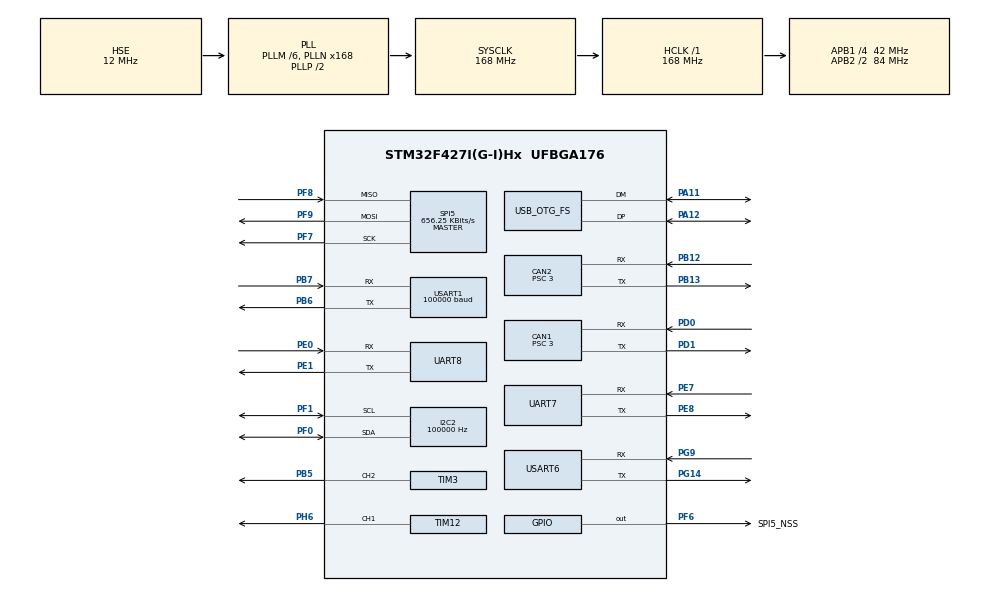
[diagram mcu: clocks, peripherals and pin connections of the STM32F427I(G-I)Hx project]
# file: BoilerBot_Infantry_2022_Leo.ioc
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CAN1.ABOM=ENABLE
CAN1.AWUM=ENABLE
CAN1.BS1=CAN_BS1_10TQ
CAN1.BS2=CAN_BS2_3TQ
CAN1.CalculateBaudRate=1000000
CAN1.CalculateTimeBit=1000
CAN1.CalculateTimeQuantum=71.42857142857143
CAN1.NART=ENABLE
CAN1.Prescaler=3
CAN2.ABOM=ENABLE
CAN2.AWUM=ENABLE
CAN2.BS1=CAN_BS1_10TQ
CAN2.BS2=CAN_BS2_3TQ
CAN2.CalculateBaudRate=1000000
CAN2.CalculateTimeBit=1000
CAN2.CalculateTimeQuantum=71.42857142857143
CAN2.NART=ENABLE
CAN2.Prescaler=3
CAN2.RFLM=ENABLE
Dma.Request0=USART1_RX
Dma.Request1=USART6_RX
Dma.Request2=UART7_RX
Dma.Request3=UART7_TX
Dma.UART7_RX.2.Direction=DMA_PERIPH_TO_MEMORY
Dma.UART7_RX.2.FIFOMode=DMA_FIFOMODE_DISABLE
Dma.UART7_RX.2.Instance=DMA1_Stream3
Dma.UART7_RX.2.MemDataAlignment=DMA_MDATAALIGN_BYTE
Dma.UART7_RX.2.MemInc=DMA_MINC_ENABLE
Dma.UART7_RX.2.Mode=DMA_CIRCULAR
Dma.UART7_RX.2.PeriphDataAlignment=DMA_PDATAALIGN_BYTE
Dma.UART7_RX.2.PeriphInc=DMA_PINC_DISABLE
Dma.UART7_RX.2.Priority=DMA_PRIORITY_HIGH
Dma.UART7_TX.3.Direction=DMA_MEMORY_TO_PERIPH
Dma.UART7_TX.3.FIFOMode=DMA_FIFOMODE_DISABLE
Dma.UART7_TX.3.Instance=DMA1_Stream1
Dma.UART7_TX.3.MemDataAlignment=DMA_MDATAALIGN_BYTE
Dma.UART7_TX.3.MemInc=DMA_MINC_ENABLE
Dma.UART7_TX.3.Mode=DMA_CIRCULAR
Dma.UART7_TX.3.PeriphDataAlignment=DMA_PDATAALIGN_BYTE
Dma.UART7_TX.3.PeriphInc=DMA_PINC_DISABLE
Dma.UART7_TX.3.Priority=DMA_PRIORITY_HIGH
Dma.USART1_RX.0.Direction=DMA_PERIPH_TO_MEMORY
Dma.USART1_RX.0.FIFOMode=DMA_FIFOMODE_DISABLE
Dma.USART1_RX.0.Instance=DMA2_Stream2
Dma.USART1_RX.0.MemDataAlignment=DMA_MDATAALIGN_BYTE
Dma.USART1_RX.0.MemInc=DMA_MINC_ENABLE
Dma.USART1_RX.0.Mode=DMA_CIRCULAR
Dma.USART1_RX.0.PeriphDataAlignment=DMA_PDATAALIGN_BYTE
Dma.USART1_RX.0.PeriphInc=DMA_PINC_DISABLE
Dma.USART1_RX.0.Priority=DMA_PRIORITY_LOW
Dma.USART6_RX.1.Direction=DMA_PERIPH_TO_MEMORY
Dma.USART6_RX.1.FIFOMode=DMA_FIFOMODE_DISABLE
Dma.USART6_RX.1.Instance=DMA2_Stream1
Dma.USART6_RX.1.MemDataAlignment=DMA_MDATAALIGN_BYTE
Dma.USART6_RX.1.MemInc=DMA_MINC_ENABLE
Dma.USART6_RX.1.Mode=DMA_CIRCULAR
Dma.USART6_RX.1.PeriphDataAlignment=DMA_PDATAALIGN_BYTE
Dma.USART6_RX.1.PeriphInc=DMA_PINC_DISABLE
Dma.USART6_RX.1.Priority=DMA_PRIORITY_LOW
FREERTOS.INCLUDE_vTaskDelayUntil=1
FREERTOS.Queues01=CAN1_Receive,32,CAN_Export_Data_t,0,Dynamic,NULL,NULL;CAN2_Receive,32,CAN_Export_Data_t,0,Dynamic,NULL,NULL;CAN_Send,32,CAN_Send_Data_t,0,Dynamic,NULL,NULL
FREERTOS.Tasks01=Task_IMU,0,384,StartIMUTask,Default,NULL,Dynamic,NULL,NULL;Task_Init,2,128,General_Init,Default,NULL,Dynamic,NULL,NULL;Task_CAN_Send,2,256,CAN_Send_ALL,Default,NULL,Dynamic,NULL,NULL;Task_CAN1_Rec,2,256,CAN1_Rec,Default,NULL,Dynamic,NULL,NULL;Task_CAN2_Rec,2,256,CAN2_Rec,Default,NULL,Dynamic,NULL,NULL;Task_Robot_Ctrl,3,640,Robot_Control,Default,NULL,Dynamic,NULL,NULL;SendtoPC,3,256,StartTransmission,Default,NULL,Dynamic,NULL,NULL
FREERTOS.configUSE_TIMERS=0
I2C2.Analog_Filter=I2C_ANALOGFILTER_DISABLE
I2C2.ClockSpeed=100000
I2C2.I2C_Mode=I2C_Standard
I2C2.OwnAddress=0
Mcu.Family=STM32F4
Mcu.Name=STM32F427I(G-I)Hx
Mcu.Package=UFBGA176
NVIC.CAN1_RX0_IRQn=true\:6\:0\:true\:false\:true\:false\:true\:false\:true
NVIC.CAN2_RX0_IRQn=true\:6\:0\:true\:false\:true\:false\:true\:false\:true
NVIC.DMA1_Stream1_IRQn=true\:5\:0\:false\:false\:true\:true\:false\:true\:true
NVIC.DMA1_Stream3_IRQn=true\:5\:0\:false\:false\:true\:true\:false\:true\:true
NVIC.DMA2_Stream1_IRQn=true\:5\:0\:false\:false\:true\:false\:false\:false\:true
NVIC.DMA2_Stream2_IRQn=true\:0\:0\:true\:false\:true\:false\:false\:false\:true
NVIC.OTG_FS_IRQn=true\:5\:0\:false\:false\:true\:true\:false\:true\:true
NVIC.PriorityGroup=NVIC_PRIORITYGROUP_4
NVIC.TIM6_DAC_IRQn=true\:0\:0\:true\:false\:true\:false\:false\:true\:true
NVIC.TimeBase=TIM6_DAC_IRQn
NVIC.TimeBaseIP=TIM6
NVIC.USART1_IRQn=true\:5\:0\:true\:false\:true\:false\:true\:false\:true
NVIC.USART6_IRQn=true\:5\:0\:true\:false\:true\:false\:true\:false\:true
PA11.Mode=Device_Only
PA11.Signal=USB_OTG_FS_DM
PA12.Mode=Device_Only
PA12.Signal=USB_OTG_FS_DP
PA13.Mode=Serial_Wire
PA13.Signal=SYS_JTMS-SWDIO
PA14.Mode=Serial_Wire
PA14.Signal=SYS_JTCK-SWCLK
PB12.Mode=CAN_Activate
PB12.Signal=CAN2_RX
PB13.Mode=CAN_Activate
PB13.Signal=CAN2_TX
PB5.Signal=S_TIM3_CH2
PB6.GPIO_PuPd=GPIO_PULLUP
PB6.Mode=Asynchronous
PB6.Signal=USART1_TX
PB7.GPIO_PuPd=GPIO_PULLUP
PB7.Mode=Asynchronous
PB7.Signal=USART1_RX
PD0.Mode=CAN_Activate
PD0.Signal=CAN1_RX
PD1.Mode=CAN_Activate
PD1.Signal=CAN1_TX
PE0.Mode=Asynchronous
PE0.Signal=UART8_RX
PE1.Mode=Asynchronous
PE1.Signal=UART8_TX
PE7.Mode=Asynchronous
PE7.Signal=UART7_RX
PE8.Mode=Asynchronous
PE8.Signal=UART7_TX
PF0.GPIO_Pu=GPIO_PULLUP
PF0.Mode=I2C
PF0.Signal=I2C2_SDA
PF1.GPIO_Pu=GPIO_PULLUP
PF1.Mode=I2C
PF1.Signal=I2C2_SCL
PF6.GPIO_Label=SPI5_NSS
PF6.GPIO_PuPd=GPIO_PULLUP
PF6.PinState=GPIO_PIN_SET
PF6.Signal=GPIO_Output
PF7.Mode=Full_Duplex_Master
PF7.Signal=SPI5_SCK
PF8.Mode=Full_Duplex_Master
PF8.Signal=SPI5_MISO
PF9.Mode=Full_Duplex_Master
PF9.Signal=SPI5_MOSI
PG14.Mode=Asynchronous
PG14.Signal=USART6_TX
PG9.Mode=Asynchronous
PG9.Signal=USART6_RX
PH0/OSC_IN.Mode=HSE-External-Oscillator
PH0/OSC_IN.Signal=RCC_OSC_IN
PH1/OSC_OUT.Mode=HSE-External-Oscillator
PH1/OSC_OUT.Signal=RCC_OSC_OUT
PH6.Signal=S_TIM12_CH1
ProjectManager.HeapSize=0x200
ProjectManager.StackSize=0x400
ProjectManager.TargetToolchain=MDK-ARM V5.32
RCC.48MHZClocksFreq_Value=48000000
RCC.AHBFreq_Value=168000000
RCC.APB1CLKDivider=RCC_HCLK_DIV4
RCC.APB1Freq_Value=42000000
RCC.APB1TimFreq_Value=84000000
RCC.APB2CLKDivider=RCC_HCLK_DIV2
RCC.APB2Freq_Value=84000000
RCC.APB2TimFreq_Value=168000000
RCC.CortexFreq_Value=168000000
RCC.HCLKFreq_Value=168000000
RCC.HSE_VALUE=12000000
RCC.HSI_VALUE=16000000
RCC.LSE_VALUE=32768
RCC.PLLM=6
RCC.PLLN=168
RCC.PLLQ=7
RCC.SYSCLKFreq_VALUE=168000000
RCC.SYSCLKSource=RCC_SYSCLKSOURCE_PLLCLK
RCC.VCOOutputFreq_Value=336000000
SH.S_TIM12_CH1.0=TIM12_CH1,PWM Generation1 CH1
SH.S_TIM3_CH2.0=TIM3_CH2,PWM Generation2 CH2
SPI5.BaudRatePrescaler=SPI_BAUDRATEPRESCALER_128
SPI5.CalculateBaudRate=656.25 KBits/s
SPI5.Direction=SPI_DIRECTION_2LINES
SPI5.Mode=SPI_MODE_MASTER
SPI5.VirtualType=VM_MASTER
TIM12.Channel-PWM\ Generation1\ CH1=TIM_CHANNEL_1
TIM12.Period=0
TIM12.Prescaler=42
TIM3.Channel-PWM\ Generation2\ CH2=TIM_CHANNEL_2
TIM3.Period=4999
TIM7.Period=50
TIM7.Prescaler=84
UART7.VirtualMode=Asynchronous
UART8.VirtualMode=Asynchronous
USART1.BaudRate=100000
USART1.VirtualMode=VM_ASYNC
USART6.VirtualMode=VM_ASYNC
USB_DEVICE.CLASS_NAME_FS=CDC
USB_DEVICE.PRODUCT_STRING_CDC_FS=Sys ID Util
USB_DEVICE.USBD_DEBUG_LEVEL-CDC_FS=0
USB_DEVICE.VirtualMode-CDC_FS=Cdc
USB_DEVICE.VirtualModeFS=Cdc_FS
USB_OTG_FS.VirtualMode=Device_Only
USB_OTG_FS.low_power_enable=DISABLE
VP_FREERTOS_VS_CMSIS_V1.Mode=CMSIS_V1
VP_SYS_VS_tim6.Mode=TIM6
VP_TIM12_VS_ClockSourceINT.Mode=Internal
VP_TIM3_VS_ClockSourceINT.Mode=Internal
VP_TIM7_VS_ClockSourceINT.Mode=Enable_Timer
VP_USB_DEVICE_VS_USB_DEVICE_CDC_FS.Mode=CDC_FS
board=custom

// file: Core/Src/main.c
/* USER CODE BEGIN Header */
/**
  ******************************************************************************
  * @file           : main.c
  * @brief          : Main program body
  ******************************************************************************
  * @attention
  *
  * Copyright (c) 2022 STMicroelectronics.
  * All rights reserved.
  *
  * This software is licensed under terms that can be found in the LICENSE file
  * in the root directory of this software component.
  * If no LICENSE file comes with this software, it is provided AS-IS.
  *
  ******************************************************************************
  */
/* USER CODE END Header */
#include "main.h"
#include "cmsis_os.h"
#include "can.h"
#include "dma.h"
#include "i2c.h"
#include "spi.h"
#include "tim.h"
#include "usart.h"
#include "usb_device.h"
#include "gpio.h"

void SystemClock_Config(void);
void MX_FREERTOS_Init(void);

int main(void)
{

  /* MCU Configuration--------------------------------------------------------*/

  /* Reset of all peripherals, Initializes the Flash interface and the Systick. */
  HAL_Init();

  /* Configure the system clock */
  SystemClock_Config();

  /* Initialize all configured peripherals */
  MX_GPIO_Init();
  MX_DMA_Init();
  MX_TIM12_Init();
  MX_USART1_UART_Init();
  MX_SPI5_Init();
  MX_TIM3_Init();
  MX_CAN1_Init();
  MX_CAN2_Init();
  MX_I2C2_Init();
  MX_USART6_UART_Init();
  MX_UART7_Init();
  MX_TIM7_Init();
  MX_UART8_Init();

  /* Call init function for freertos objects (in freertos.c) */
  MX_FREERTOS_Init();

  /* Start scheduler */
  osKernelStart();

  /* We should never get here as control is now taken by the scheduler */
  /* Infinite loop */
  while (1)
  {

  }
}

void SystemClock_Config(void)
{
  RCC_OscInitTypeDef RCC_OscInitStruct = {0};
  RCC_ClkInitTypeDef RCC_ClkInitStruct = {0};

  /** Configure the main internal regulator output voltage
  */
  __HAL_RCC_PWR_CLK_ENABLE();
  __HAL_PWR_VOLTAGESCALING_CONFIG(PWR_REGULATOR_VOLTAGE_SCALE1);

  /** Initializes the RCC Oscillators according to the specified parameters
  * in the RCC_OscInitTypeDef structure.
  */
  RCC_OscInitStruct.OscillatorType = RCC_OSCILLATORTYPE_HSE;
  RCC_OscInitStruct.HSEState = RCC_HSE_ON;
  RCC_OscInitStruct.PLL.PLLState = RCC_PLL_ON;
  RCC_OscInitStruct.PLL.PLLSource = RCC_PLLSOURCE_HSE;
  RCC_OscInitStruct.PLL.PLLM = 6;
  RCC_OscInitStruct.PLL.PLLN = 168;
  RCC_OscInitStruct.PLL.PLLP = RCC_PLLP_DIV2;
  RCC_OscInitStruct.PLL.PLLQ = 7;
  if (HAL_RCC_OscConfig(&RCC_OscInitStruct) != HAL_OK)
  {
    Error_Handler();
  }

  /** Initializes the CPU, AHB and APB buses clocks
  */
  RCC_ClkInitStruct.ClockType = RCC_CLOCKTYPE_HCLK|RCC_CLOCKTYPE_SYSCLK
                              |RCC_CLOCKTYPE_PCLK1|RCC_CLOCKTYPE_PCLK2;
  RCC_ClkInitStruct.SYSCLKSource = RCC_SYSCLKSOURCE_PLLCLK;
  RCC_ClkInitStruct.AHBCLKDivider = RCC_SYSCLK_DIV1;
  RCC_ClkInitStruct.APB1CLKDivider = RCC_HCLK_DIV4;
  RCC_ClkInitStruct.APB2CLKDivider = RCC_HCLK_DIV2;

  if (HAL_RCC_ClockConfig(&RCC_ClkInitStruct, FLASH_LATENCY_5) != HAL_OK)
  {
    Error_Handler();
  }
}

void HAL_TIM_PeriodElapsedCallback(TIM_HandleTypeDef *htim)
{
  if (htim->Instance == TIM6) {
    HAL_IncTick();
  }
  /* USER CODE BEGIN Callback 1 */
	if(htim->Instance == TIM7)
	{
		HAL_IncTick();
		FreeRTOSRunTimeTicks++;
	}
  /* USER CODE END Callback 1 */
}

void Error_Handler(void)
{
  __disable_irq();
  while (1)
  {
  }
}

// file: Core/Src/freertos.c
/* USER CODE BEGIN Header */
/**
  ******************************************************************************
  * File Name          : freertos.c
  * Description        : Code for freertos applications
  ******************************************************************************
  * @attention
  *
  * Copyright (c) 2022 STMicroelectronics.
  * All rights reserved.
  *
  * This software is licensed under terms that can be found in the LICENSE file
  * in the root directory of this software component.
  * If no LICENSE file comes with this software, it is provided AS-IS.
  *
  ******************************************************************************
  */
/* USER CODE END Header */

#include "FreeRTOS.h"
#include "task.h"
#include "main.h"
#include "cmsis_os.h"

/* USER CODE BEGIN Includes */
#include <stdio.h>
#include "Board_A_IMU.h"
#include "IMU_Temp_Control.h"
#include "DR16_Remote.h"
#include "M3508_Motor.h"
#include "GM6020_Motor.h"
#include "M2006_Motor.h"
#include "Super_Capacitor.h"
#include "Robot_Control.h"
#include "MPU6050_IMU.h"
#include "WT901_IMU.h"
#include "Fusion.h"
#include "Referee_System.h"
#include "Buzzer.h"
#include "Jetson_Tx2.h"
#include "usbd_cdc_if.h"
/* USER CODE END Includes */

/* USER CODE BEGIN Variables */
osThreadId CPU_RunTimeHandle;
/* USER CODE END Variables */
osThreadId Task_IMUHandle;
osThreadId Task_InitHandle;
osThreadId Task_CAN_SendHandle;
osThreadId Task_CAN1_RecHandle;
osThreadId Task_CAN2_RecHandle;
osThreadId Task_Robot_CtrlHandle;
osThreadId SendtoPCHandle;
osMessageQId CAN1_ReceiveHandle;
osMessageQId CAN2_ReceiveHandle;
osMessageQId CAN_SendHandle;

/* USER CODE BEGIN FunctionPrototypes */
void StartIMUTask(void const * argument);
void General_Initialization(void const * argument);
void CPU_RunTime(void const * argument);
/* USER CODE END FunctionPrototypes */

void StartIMUTask(void const * argument);
void General_Init(void const * argument);
void CAN_Send_ALL(void const * argument);
void CAN1_Rec(void const * argument);
void CAN2_Rec(void const * argument);
void Robot_Control(void const * argument);
void StartTransmission(void const * argument);

extern void MX_USB_DEVICE_Init(void);
void MX_FREERTOS_Init(void); /* (MISRA C 2004 rule 8.1) */

/* GetIdleTaskMemory prototype (linked to static allocation support) */
void vApplicationGetIdleTaskMemory( StaticTask_t **ppxIdleTaskTCBBuffer, StackType_t **ppxIdleTaskStackBuffer, uint32_t *pulIdleTaskStackSize );

/* USER CODE BEGIN GET_IDLE_TASK_MEMORY */
static StaticTask_t xIdleTaskTCBBuffer;
static StackType_t xIdleStack[configMINIMAL_STACK_SIZE];

void vApplicationGetIdleTaskMemory( StaticTask_t **ppxIdleTaskTCBBuffer, StackType_t **ppxIdleTaskStackBuffer, uint32_t *pulIdleTaskStackSize )
{
  *ppxIdleTaskTCBBuffer = &xIdleTaskTCBBuffer;
  *ppxIdleTaskStackBuffer = &xIdleStack[0];
  *pulIdleTaskStackSize = configMINIMAL_STACK_SIZE;
  /* place for user code */
}
/* USER CODE END GET_IDLE_TASK_MEMORY */

void MX_FREERTOS_Init(void) {

  /* Create the queue(s) */
  /* definition and creation of CAN1_Receive */
  osMessageQDef(CAN1_Receive, 32, CAN_Export_Data_t);
  CAN1_ReceiveHandle = osMessageCreate(osMessageQ(CAN1_Receive), NULL);

  /* definition and creation of CAN2_Receive */
  osMessageQDef(CAN2_Receive, 32, CAN_Export_Data_t);
  CAN2_ReceiveHandle = osMessageCreate(osMessageQ(CAN2_Receive), NULL);

  /* definition and creation of CAN_Send */
  osMessageQDef(CAN_Send, 32, CAN_Send_Data_t);
  CAN_SendHandle = osMessageCreate(osMessageQ(CAN_Send), NULL);

  /* Create the thread(s) */
  /* definition and creation of Task_IMU */
  osThreadDef(Task_IMU, StartIMUTask, osPriorityNormal, 0, 384);
  Task_IMUHandle = osThreadCreate(osThread(Task_IMU), NULL);

  /* definition and creation of Task_Init */
  osThreadDef(Task_Init, General_Init, osPriorityHigh, 0, 128);
  Task_InitHandle = osThreadCreate(osThread(Task_Init), NULL);

  /* definition and creation of Task_CAN_Send */
  osThreadDef(Task_CAN_Send, CAN_Send_ALL, osPriorityHigh, 0, 256);
  Task_CAN_SendHandle = osThreadCreate(osThread(Task_CAN_Send), NULL);

  /* definition and creation of Task_CAN1_Rec */
  osThreadDef(Task_CAN1_Rec, CAN1_Rec, osPriorityHigh, 0, 256);
  Task_CAN1_RecHandle = osThreadCreate(osThread(Task_CAN1_Rec), NULL);

  /* definition and creation of Task_CAN2_Rec */
  osThreadDef(Task_CAN2_Rec, CAN2_Rec, osPriorityHigh, 0, 256);
  Task_CAN2_RecHandle = osThreadCreate(osThread(Task_CAN2_Rec), NULL);

  /* definition and creation of Task_Robot_Ctrl */
  osThreadDef(Task_Robot_Ctrl, Robot_Control, osPriorityRealtime, 0, 640);
  Task_Robot_CtrlHandle = osThreadCreate(osThread(Task_Robot_Ctrl), NULL);

  /* definition and creation of SendtoPC */
  osThreadDef(SendtoPC, StartTransmission, osPriorityRealtime, 0, 256);
  SendtoPCHandle = osThreadCreate(osThread(SendtoPC), NULL);

}

void StartIMUTask(void const * argument)
{
  /* init code for USB_DEVICE */
  MX_USB_DEVICE_Init();
  /* USER CODE BEGIN StartIMUTask */
	portTickType xLastWakeTime;
  xLastWakeTime = xTaskGetTickCount();

  const TickType_t TimeIncrement = pdMS_TO_TICKS(1);
  /* Infinite loop */
  for(;;)
  {
//		Board_A_IMU_Func.Board_A_IMU_Calibrate(&Board_A_IMU);
//		Board_A_IMU_Func.Board_A_IMU_Read_Data(&Board_A_IMU);
//		Board_A_IMU_Func.Board_A_IMU_Calc_Angle(&Board_A_IMU);
//		IMU_Temp_Control_Func.Board_A_IMU_Temp_Control();
//
//		#ifdef USE_MPU6050
//		MPU6050_IMU_Func.MPU6050_IMU_Calibrate(&MPU6050_IMU);
//		MPU6050_IMU_Func.MPU6050_IMU_Read_Data(&MPU6050_IMU);
//		MPU6050_IMU_Func.MPU6050_IMU_Calc_Angle(&MPU6050_IMU);
//		#endif
//
//    vTaskDelayUntil(&xLastWakeTime, TimeIncrement);
  }
  /* USER CODE END StartIMUTask */
}

void General_Init(void const * argument)
{
  /* USER CODE BEGIN General_Init */
  /* Infinite loop */
	Buzzer_Func.Buzzer_Init();
	//Buzzer_Func.Buzzer_Robot_Initializing();
  IMU_Temp_Control_Func.Board_A_IMU_Temp_Control_Init();
	Board_A_IMU_Func.Board_A_IMU_Init();
	#ifdef USE_MPU6050
	MPU6050_IMU_Func.MPU6050_IMU_Init();
	#endif
	FusionAhrsInitialise(&MPU6050_IMU_AHRS);
	FusionAhrsInitialise(&Board_A_IMU_AHRS);
	DR16_Func.DR16_USART_Receive_DMA(&huart1);
	Tx2_Func.Jetson_Tx2_Initialization();
	Referee_System_Func.Referee_UART_Receive_Interrupt(&huart6, Referee_System.Buffer, REFEREE_BUFFER_LEN);
	CAN_Func.CAN_IT_Init(&hcan1, CAN1_Type);
  CAN_Func.CAN_IT_Init(&hcan2, CAN2_Type);
	Gimbal_Func.Gimbal_Init();
	Shooting_Func.Shooting_Init();
	vTaskDelete(NULL);
  /* USER CODE END General_Init */
}

void CAN_Send_ALL(void const * argument)
{
  /* USER CODE BEGIN CAN_Send_ALL */
	CAN_Send_Data_t CAN_Send_Data;
  /* Infinite loop */
  for(;;)
  {
    xQueueReceive(CAN_SendHandle, &CAN_Send_Data, portMAX_DELAY);
    HAL_CAN_AddTxMessage(CAN_Send_Data.Canx, &CAN_Send_Data.CAN_TxHeader, CAN_Send_Data.CANx_Send_RxMessage, (uint32_t *)CAN_TX_MAILBOX0);
  }
  /* USER CODE END CAN_Send_ALL */
}

void CAN1_Rec(void const * argument)
{
  /* USER CODE BEGIN CAN1_Rec */
	CAN_Export_Data_t CAN_Export_Data;
	uint32_t ID;
  /* Infinite loop */
  for(;;)
  {
    xQueueReceive(CAN1_ReceiveHandle, &CAN_Export_Data, portMAX_DELAY);
		ID = CAN_Export_Data.CAN_RxHeader.StdId;
		if(ID == M2006_TRIGGER_ID)
			M2006_Func.M2006_Trigger_Get_Data(CAN_Export_Data);
		else if(ID == SUPERCAP_ID)
			Super_Capacitor_Func.Super_Capacitor_Get_Data(CAN_Export_Data);
		else if(ID >= M3508_CHASSIS_START_ID && ID <= M3508_CHASSIS_END_ID)
			M3508_Func.M3508_Chassis_Get_Data(CAN_Export_Data);
		else if(ID == GM6020_YAW_ID)
			GM6020_Func.GM6020_Yaw_Get_Data(CAN_Export_Data);

		Monitor_CAN1.Info_Update_Frame++;
  }
  /* USER CODE END CAN1_Rec */
}

void CAN2_Rec(void const * argument)
{
  /* USER CODE BEGIN CAN2_Rec */
	CAN_Export_Data_t CAN_Export_Data;
	uint32_t ID;
  /* Infinite loop */
  for(;;)
  {
		xQueueReceive(CAN2_ReceiveHandle, &CAN_Export_Data, portMAX_DELAY);
		ID = CAN_Export_Data.CAN_RxHeader.StdId;
    if(ID == M3508_FRIC_WHEEL_LEFT_ID || ID == M3508_FRIC_WHEEL_RIGHT_ID)
			M3508_Func.M3508_Fric_Wheel_Get_Data(CAN_Export_Data);
		else if(ID == GM6020_PITCH_ID)
			GM6020_Func.GM6020_Pitch_Get_Data(CAN_Export_Data);

		Monitor_CAN2.Info_Update_Frame++;
  }
  /* USER CODE END CAN2_Rec */
}

void Robot_Control(void const * argument)
{
  /* USER CODE BEGIN Robot_Control */
	portTickType xLastWakeTime;
  xLastWakeTime = xTaskGetTickCount();
  const TickType_t TimeIncrement = pdMS_TO_TICKS(2);
  /* Infinite loop */
  for(;;)
  {
    Robot_Control_Func.Robot_Control_Start();
		vTaskDelayUntil(&xLastWakeTime, TimeIncrement);
  }
  /* USER CODE END Robot_Control */
}

void StartTransmission(void const * argument)
{
  /* USER CODE BEGIN StartTransmission */
  /* Infinite loop */
	char information_buffer[64] = "";
  for(;;)
  {
		snprintf(information_buffer, sizeof(information_buffer), "%d, %d, %d", HAL_GetTick(), GM6020_Pitch.Actual_Angle, GM6020_Pitch.Target_Angle);
		CDC_Transmit_FS((uint8_t*)information_buffer, sizeof(information_buffer));
    osDelay(1);
  }
  /* USER CODE END StartTransmission */
}
